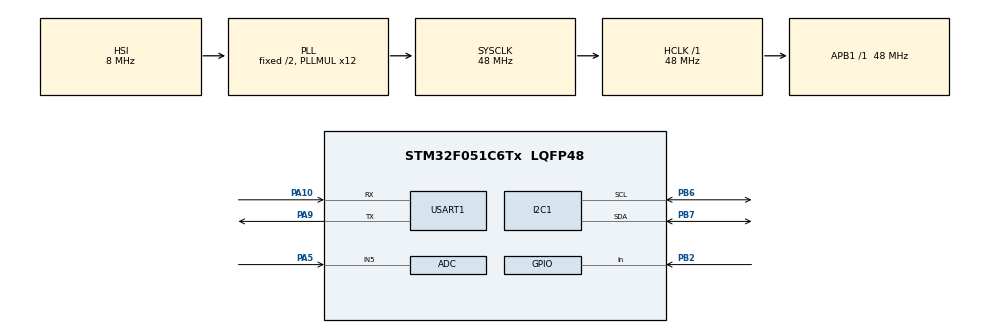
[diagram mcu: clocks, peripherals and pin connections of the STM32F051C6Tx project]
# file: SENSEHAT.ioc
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ADC.ContinuousConvMode=ENABLE
Mcu.Family=STM32F0
Mcu.Name=STM32F051C6Tx
Mcu.Package=LQFP48
NVIC.TIM2_IRQn=true\:0\:0\:false\:false\:true\:true\:true\:true
PA10.Mode=Asynchronous
PA10.Signal=USART1_RX
PA5.Mode=IN5
PA5.Signal=ADC_IN5
PA9.Mode=Asynchronous
PA9.Signal=USART1_TX
PB2.GPIO_PuPd=GPIO_PULLDOWN
PB2.Signal=GPIO_Input
PB6.Mode=I2C
PB6.Signal=I2C1_SCL
PB7.Mode=I2C
PB7.Signal=I2C1_SDA
PC14-OSC32_IN.Mode=LSE-External-Oscillator
PC14-OSC32_IN.Signal=RCC_OSC32_IN
PC15-OSC32_OUT.Mode=LSE-External-Oscillator
PC15-OSC32_OUT.Signal=RCC_OSC32_OUT
PF0-OSC_IN.Mode=HSE-External-Oscillator
PF0-OSC_IN.Signal=RCC_OSC_IN
PF1-OSC_OUT.Mode=HSE-External-Oscillator
PF1-OSC_OUT.Signal=RCC_OSC_OUT
ProjectManager.HeapSize=0x200
ProjectManager.StackSize=0x400
ProjectManager.TargetToolchain=STM32CubeIDE
RCC.AHBFreq_Value=48000000
RCC.APB1Freq_Value=48000000
RCC.APB1TimFreq_Value=48000000
RCC.HCLKFreq_Value=48000000
RCC.PLLMUL=RCC_PLL_MUL12
RCC.SYSCLKFreq_VALUE=48000000
RCC.SYSCLKSource=RCC_SYSCLKSOURCE_PLLCLK
TIM2.AutoReloadPreload=TIM_AUTORELOAD_PRELOAD_ENABLE
TIM2.Period=144000
TIM2.Prescaler=10000
USART1.VirtualMode-Asynchronous=VM_ASYNC
VP_RTC_VS_RTC_Activate.Mode=RTC_Enabled
VP_RTC_VS_RTC_Calendar.Mode=RTC_Calendar
VP_TIM2_VS_ClockSourceINT.Mode=Internal
board=custom

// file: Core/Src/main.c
/* USER CODE BEGIN Header */
/**
  ******************************************************************************
  * @file           : main.c
  * @brief          : Main program body
  ******************************************************************************
  * @attention
  *
  * Copyright (c) 2023 STMicroelectronics.
  * All rights reserved.
  *
  * This software is licensed under terms that can be found in the LICENSE file
  * in the root directory of this software component.
  * If no LICENSE file comes with this software, it is provided AS-IS.
  *
  ******************************************************************************
  * @author Rumbidzai Mashumba, Phomolo Makina, Travimadox Webb
  * @company Imperium LLC
  * @date 13th of May 2023
  */
/* USER CODE END Header */
#include "main.h"

/* USER CODE BEGIN Includes */
#include "rtc.h"
#include "ldr.h"
#include "tmp102.h"
#include "EEPROM.h"
#include "string.h"

#include <math.h>
#include <stdbool.h>
/* USER CODE END Includes */

ADC_HandleTypeDef hadc;

I2C_HandleTypeDef hi2c1;

RTC_HandleTypeDef hrtc;

TIM_HandleTypeDef htim2;

UART_HandleTypeDef huart1;

/* USER CODE BEGIN PV */
// Change these values to set time and date each time the stm32 goes off
uint8_t hours = 14;
uint8_t minutes = 00;
uint8_t seconds = 0;
uint8_t day = 19;
uint8_t month = 5;
uint8_t year = 23;

uint8_t read_hours, read_minutes, read_seconds;
char time_string[9];

uint8_t dayread;
uint8_t monthread;
uint8_t yearread;
char date_string[11];

float light_intensity;

float temperature;

char temp_string[10];
char light_string[10];

HAL_StatusTypeDef status;

// Global variable to track the current page
uint16_t current_page = 0;

// Flag to indicate whether the EEPROM is full
bool eeprom_full = false;

//Flag to indicate whether USB is plugged
bool usb_plugged = false;

/* USER CODE END PV */

void SystemClock_Config(void);
static void MX_GPIO_Init(void);
static void MX_ADC_Init(void);
static void MX_I2C1_Init(void);
static void MX_RTC_Init(void);
static void MX_USART1_UART_Init(void);
static void MX_TIM2_Init(void);
/* USER CODE BEGIN PFP */
void read_and_transmit_all_data(void);
void read_and_store_data(void);
void check_GPIO_state(void);
/* USER CODE END PFP */

int main(void)
{

  /* MCU Configuration--------------------------------------------------------*/

  /* Reset of all peripherals, Initializes the Flash interface and the Systick. */
  HAL_Init();

  /* Configure the system clock */
  SystemClock_Config();

  /* Initialize all configured peripherals */
  MX_GPIO_Init();
  MX_ADC_Init();
  MX_I2C1_Init();
  MX_RTC_Init();
  MX_USART1_UART_Init();
  MX_TIM2_Init();
  /* USER CODE BEGIN 2 */

  //Set calibration constants for the LDR
  LDR_Init();

  //Set Time and Date
    status = RTC_SetTime(&hrtc, hours, minutes, seconds);

    if (status != HAL_OK) {
        // Handle error will be implemented later
    }

    RTC_SetDate(&hrtc, day, month, year);

    //Initiliaze temperature sensor
    if (TMP102_Init(&hi2c1) != HAL_OK) {
          // Handle error (e.g., turn on an LED or print a message)
    	  strcpy((char*)temp_string,"Error Tx\r\n");
      }

  /* USER CODE END 2 */

  /* Infinite loop */
  /* USER CODE BEGIN WHILE */
  while (1)
  {
	  //Back -up for demo in case interrupts dont work
	  //Remember to implement function to update the usb_plugged flag
	  check_GPIO_state();
	  if(usb_plugged){
		  HAL_Delay(30000);
		  read_and_transmit_all_data();
	  }
	  else{
		  read_and_store_data();
	  }

	  HAL_Delay(10000);

    /* USER CODE END WHILE */

  }
}

void SystemClock_Config(void)
{
  RCC_OscInitTypeDef RCC_OscInitStruct = {0};
  RCC_ClkInitTypeDef RCC_ClkInitStruct = {0};
  RCC_PeriphCLKInitTypeDef PeriphClkInit = {0};

  /** Initializes the RCC Oscillators according to the specified parameters
  * in the RCC_OscInitTypeDef structure.
  */
  RCC_OscInitStruct.OscillatorType = RCC_OSCILLATORTYPE_HSI|RCC_OSCILLATORTYPE_HSI14
                              |RCC_OSCILLATORTYPE_LSI;
  RCC_OscInitStruct.HSIState = RCC_HSI_ON;
  RCC_OscInitStruct.HSI14State = RCC_HSI14_ON;
  RCC_OscInitStruct.HSICalibrationValue = RCC_HSICALIBRATION_DEFAULT;
  RCC_OscInitStruct.HSI14CalibrationValue = 16;
  RCC_OscInitStruct.LSIState = RCC_LSI_ON;
  RCC_OscInitStruct.PLL.PLLState = RCC_PLL_ON;
  RCC_OscInitStruct.PLL.PLLSource = RCC_PLLSOURCE_HSI;
  RCC_OscInitStruct.PLL.PLLMUL = RCC_PLL_MUL12;
  RCC_OscInitStruct.PLL.PREDIV = RCC_PREDIV_DIV1;
  if (HAL_RCC_OscConfig(&RCC_OscInitStruct) != HAL_OK)
  {
    Error_Handler();
  }

  /** Initializes the CPU, AHB and APB buses clocks
  */
  RCC_ClkInitStruct.ClockType = RCC_CLOCKTYPE_HCLK|RCC_CLOCKTYPE_SYSCLK
                              |RCC_CLOCKTYPE_PCLK1;
  RCC_ClkInitStruct.SYSCLKSource = RCC_SYSCLKSOURCE_PLLCLK;
  RCC_ClkInitStruct.AHBCLKDivider = RCC_SYSCLK_DIV1;
  RCC_ClkInitStruct.APB1CLKDivider = RCC_HCLK_DIV1;

  if (HAL_RCC_ClockConfig(&RCC_ClkInitStruct, FLASH_LATENCY_1) != HAL_OK)
  {
    Error_Handler();
  }
  PeriphClkInit.PeriphClockSelection = RCC_PERIPHCLK_USART1|RCC_PERIPHCLK_I2C1
                              |RCC_PERIPHCLK_RTC;
  PeriphClkInit.Usart1ClockSelection = RCC_USART1CLKSOURCE_PCLK1;
  PeriphClkInit.I2c1ClockSelection = RCC_I2C1CLKSOURCE_HSI;
  PeriphClkInit.RTCClockSelection = RCC_RTCCLKSOURCE_LSI;
  if (HAL_RCCEx_PeriphCLKConfig(&PeriphClkInit) != HAL_OK)
  {
    Error_Handler();
  }
}

static void MX_ADC_Init(void)
{

  ADC_ChannelConfTypeDef sConfig = {0};

  /** Configure the global features of the ADC (Clock, Resolution, Data Alignment and number of conversion)
  */
  hadc.Instance = ADC1;
  hadc.Init.ClockPrescaler = ADC_CLOCK_ASYNC_DIV1;
  hadc.Init.Resolution = ADC_RESOLUTION_12B;
  hadc.Init.DataAlign = ADC_DATAALIGN_RIGHT;
  hadc.Init.ScanConvMode = ADC_SCAN_DIRECTION_FORWARD;
  hadc.Init.EOCSelection = ADC_EOC_SINGLE_CONV;
  hadc.Init.LowPowerAutoWait = DISABLE;
  hadc.Init.LowPowerAutoPowerOff = DISABLE;
  hadc.Init.ContinuousConvMode = ENABLE;
  hadc.Init.DiscontinuousConvMode = DISABLE;
  hadc.Init.ExternalTrigConv = ADC_SOFTWARE_START;
  hadc.Init.ExternalTrigConvEdge = ADC_EXTERNALTRIGCONVEDGE_NONE;
  hadc.Init.DMAContinuousRequests = DISABLE;
  hadc.Init.Overrun = ADC_OVR_DATA_PRESERVED;
  if (HAL_ADC_Init(&hadc) != HAL_OK)
  {
    Error_Handler();
  }

  /** Configure for the selected ADC regular channel to be converted.
  */
  sConfig.Channel = ADC_CHANNEL_5;
  sConfig.Rank = ADC_RANK_CHANNEL_NUMBER;
  sConfig.SamplingTime = ADC_SAMPLETIME_1CYCLE_5;
  if (HAL_ADC_ConfigChannel(&hadc, &sConfig) != HAL_OK)
  {
    Error_Handler();
  }

}

static void MX_I2C1_Init(void)
{

  hi2c1.Instance = I2C1;
  hi2c1.Init.Timing = 0x2000090E;
  hi2c1.Init.OwnAddress1 = 0;
  hi2c1.Init.AddressingMode = I2C_ADDRESSINGMODE_7BIT;
  hi2c1.Init.DualAddressMode = I2C_DUALADDRESS_DISABLE;
  hi2c1.Init.OwnAddress2 = 0;
  hi2c1.Init.OwnAddress2Masks = I2C_OA2_NOMASK;
  hi2c1.Init.GeneralCallMode = I2C_GENERALCALL_DISABLE;
  hi2c1.Init.NoStretchMode = I2C_NOSTRETCH_DISABLE;
  if (HAL_I2C_Init(&hi2c1) != HAL_OK)
  {
    Error_Handler();
  }

  /** Configure Analogue filter
  */
  if (HAL_I2CEx_ConfigAnalogFilter(&hi2c1, I2C_ANALOGFILTER_ENABLE) != HAL_OK)
  {
    Error_Handler();
  }

  /** Configure Digital filter
  */
  if (HAL_I2CEx_ConfigDigitalFilter(&hi2c1, 0) != HAL_OK)
  {
    Error_Handler();
  }

}

static void MX_RTC_Init(void)
{

  RTC_TimeTypeDef sTime = {0};
  RTC_DateTypeDef sDate = {0};

  /** Initialize RTC Only
  */
  hrtc.Instance = RTC;
  hrtc.Init.HourFormat = RTC_HOURFORMAT_24;
  hrtc.Init.AsynchPrediv = 127;
  hrtc.Init.SynchPrediv = 255;
  hrtc.Init.OutPut = RTC_OUTPUT_DISABLE;
  hrtc.Init.OutPutPolarity = RTC_OUTPUT_POLARITY_HIGH;
  hrtc.Init.OutPutType = RTC_OUTPUT_TYPE_OPENDRAIN;
  if (HAL_RTC_Init(&hrtc) != HAL_OK)
  {
    Error_Handler();
  }

  /** Initialize RTC and set the Time and Date
  */
  sTime.Hours = 0x0;
  sTime.Minutes = 0x0;
  sTime.Seconds = 0x0;
  sTime.DayLightSaving = RTC_DAYLIGHTSAVING_NONE;
  sTime.StoreOperation = RTC_STOREOPERATION_RESET;
  if (HAL_RTC_SetTime(&hrtc, &sTime, RTC_FORMAT_BCD) != HAL_OK)
  {
    Error_Handler();
  }
  sDate.WeekDay = RTC_WEEKDAY_MONDAY;
  sDate.Month = RTC_MONTH_JANUARY;
  sDate.Date = 0x1;
  sDate.Year = 0x0;

  if (HAL_RTC_SetDate(&hrtc, &sDate, RTC_FORMAT_BCD) != HAL_OK)
  {
    Error_Handler();
  }

}

static void MX_TIM2_Init(void)
{

  TIM_ClockConfigTypeDef sClockSourceConfig = {0};
  TIM_MasterConfigTypeDef sMasterConfig = {0};

  htim2.Instance = TIM2;
  htim2.Init.Prescaler = 10000;
  htim2.Init.CounterMode = TIM_COUNTERMODE_UP;
  htim2.Init.Period = 144000;
  htim2.Init.ClockDivision = TIM_CLOCKDIVISION_DIV1;
  htim2.Init.AutoReloadPreload = TIM_AUTORELOAD_PRELOAD_ENABLE;
  if (HAL_TIM_Base_Init(&htim2) != HAL_OK)
  {
    Error_Handler();
  }
  sClockSourceConfig.ClockSource = TIM_CLOCKSOURCE_INTERNAL;
  if (HAL_TIM_ConfigClockSource(&htim2, &sClockSourceConfig) != HAL_OK)
  {
    Error_Handler();
  }
  sMasterConfig.MasterOutputTrigger = TIM_TRGO_RESET;
  sMasterConfig.MasterSlaveMode = TIM_MASTERSLAVEMODE_DISABLE;
  if (HAL_TIMEx_MasterConfigSynchronization(&htim2, &sMasterConfig) != HAL_OK)
  {
    Error_Handler();
  }

}

static void MX_USART1_UART_Init(void)
{

  huart1.Instance = USART1;
  huart1.Init.BaudRate = 38400;
  huart1.Init.WordLength = UART_WORDLENGTH_8B;
  huart1.Init.StopBits = UART_STOPBITS_1;
  huart1.Init.Parity = UART_PARITY_NONE;
  huart1.Init.Mode = UART_MODE_TX_RX;
  huart1.Init.HwFlowCtl = UART_HWCONTROL_NONE;
  huart1.Init.OverSampling = UART_OVERSAMPLING_16;
  huart1.Init.OneBitSampling = UART_ONE_BIT_SAMPLE_DISABLE;
  huart1.AdvancedInit.AdvFeatureInit = UART_ADVFEATURE_NO_INIT;
  if (HAL_UART_Init(&huart1) != HAL_OK)
  {
    Error_Handler();
  }

}

static void MX_GPIO_Init(void)
{
  GPIO_InitTypeDef GPIO_InitStruct = {0};

  /* GPIO Ports Clock Enable */
  __HAL_RCC_GPIOC_CLK_ENABLE();
  __HAL_RCC_GPIOF_CLK_ENABLE();
  __HAL_RCC_GPIOA_CLK_ENABLE();
  __HAL_RCC_GPIOB_CLK_ENABLE();

  /*Configure GPIO pin : PB2 */
  GPIO_InitStruct.Pin = GPIO_PIN_2;
  GPIO_InitStruct.Mode = GPIO_MODE_INPUT;
  GPIO_InitStruct.Pull = GPIO_PULLDOWN;
  HAL_GPIO_Init(GPIOB, &GPIO_InitStruct);

}

/* USER CODE BEGIN 4 */
/**

@brief Read and store data

This function reads the light intensity, temperature, date, and time, and stores the data in the EEPROM memory.

The data is formatted using CSV (Comma-Separated Values) format and written to the EEPROM memory.

The function checks if the EEPROM is full before performing any write operations.

@note If the EEPROM is full, the function does not perform any write operations.
*/
/*void read_and_store_data(void)
{
    // If the EEPROM is full, don't perform any write operations
    if(eeprom_full) {
        return;
    }
	  //Read Light Intensity
	  light_intensity = LDR_ReadAnalogLightIntensity(&hadc);

	  int light_whole = (int)light_intensity;
	  int light_frac = (int)(100 * (light_intensity - light_whole));
	  sprintf(light_string, "%d.%02d", light_whole, light_frac);

	  //Read Temperature
	  temperature = TMP102_ReadTemperature(&hi2c1);
	  int temp_whole = (int)temperature;
	  int temp_frac = (int)(100 * (temperature - temp_whole));
	  sprintf(temp_string, "%d.%02d", temp_whole, temp_frac);

	   //Get the date
	   RTC_GetDate(&hrtc, &dayread, &monthread, &yearread);
	   // Convert the integers to a string
	   sprintf(date_string, "%02d-%02d-%02d", dayread, monthread, yearread);

	   //Get the time
	   status = RTC_GetTime(&hrtc, &read_hours, &read_minutes, &read_seconds);
	   if (status != HAL_OK) {
	       // Handle error
	   }

	   // Convert the integers to a string
	   sprintf(time_string, "%02d:%02d:%02d", read_hours, read_minutes, read_seconds);

	    // Calculate the size of the message
	    uint16_t message_size = strlen(light_string) + strlen(temp_string) + strlen(date_string) + strlen(time_string) + 3; // 3 for the ',' separators

	    // Create a complete message string using CSV formatting
	    char message[message_size + 1]; // +1 for the null terminator
	    sprintf(message, "%s,%s,%s,%s\r\n", date_string, time_string, temp_string, light_string);

	    // Check if the message can fit into the current page. If not, go to the next page.
	    if(message_size > PAGE_SIZE) {
	        current_page++;
	    }

	    // Check if there's enough space left in the EEPROM
	    if(current_page < PAGE_NUM) {
	        // Write the message to the EEPROM
	        EEPROM_Write(current_page, 0, (uint8_t *)message, message_size);

	        // If the message size is less than the page size, the next write operation will start from where it left.
	        // Otherwise, the next write operation will start from the next page.
	        if(message_size < PAGE_SIZE) {
	            current_page += message_size / PAGE_SIZE;
	        } else {
	            current_page++;
	        }

	    } else {
	        // EEPROM is full, set the flag to prevent further writing
	        eeprom_full = true;
	    }

}*/

void read_and_store_data(void)
{
    // If the EEPROM is full, don't perform any write operations
    if(eeprom_full) {
        return;
    }
	  //Read Light Intensity
	  light_intensity = LDR_ReadAnalogLightIntensity(&hadc);

	  int light_whole = (int)light_intensity;
	  int light_frac = (int)(100 * (light_intensity - light_whole));
	  sprintf(light_string, "%d.%02d", light_whole, light_frac);

	  //Read Temperature
	  temperature = TMP102_ReadTemperature(&hi2c1);
	  int temp_whole = (int)temperature;
	  int temp_frac = (int)(100 * (temperature - temp_whole));
	  sprintf(temp_string, "%d.%02d", temp_whole, temp_frac);

	   //Get the date
	   RTC_GetDate(&hrtc, &dayread, &monthread, &yearread);
	   // Convert the integers to a string
	   sprintf(date_string, "%02d-%02d-%02d", dayread, monthread, yearread);

	   //Get the time
	   status = RTC_GetTime(&hrtc, &read_hours, &read_minutes, &read_seconds);
	   if (status != HAL_OK) {
	       // Handle error
	   }

	   // Convert the integers to a string
	   sprintf(time_string, "%02d:%02d:%02d", read_hours, read_minutes, read_seconds);

	    // Calculate the size of the message
	    //uint16_t message_size = strlen(light_string) + strlen(temp_string) + strlen(date_string) + strlen(time_string) + 20; // 20 for the 'Date: ','Time: ','Temp: ','Light: ' and '\r\n'

	    // Create a complete message string
	    //char message[message_size + 1]; // +1 for the null terminator

	    char message[64];
	    sprintf(message, "Date: %s Time: %s Temp: %s Light: %s\r\n", date_string, time_string, temp_string, light_string);

	    // Check if the message can fit into the current page. If not, go to the next page.
	    if(current_page < PAGE_NUM) {
	    	// Write the message to the EEPROM
	    	EEPROM_Write(current_page, 0, (uint8_t *)message, strlen(message));
	    	current_page++;

	    }

	    else{
	    	eeprom_full = true;
	    }

	    // Check if there's enough space left in the EEPROM
	    /*
	     * if(current_page < PAGE_NUM) {
	        // Write the message to the EEPROM
	        EEPROM_Write(current_page, 0, (uint8_t *)message, message_size);

	        // If the message size is less than the page size, the next write operation will start from where it left.
	        // Otherwise, the next write operation will start from the next page.
	        if(message_size < PAGE_SIZE) {
	            current_page += message_size / PAGE_SIZE;
	        } else {
	            current_page++;
	        }

	    } else {
	        // EEPROM is full, set the flag to prevent further writing
	        eeprom_full = true;
	    }
	     */
}

/**

@brief Read and transmit all data
This function reads all the data stored in the EEPROM memory and transmits it over UART.
It loops through all the pages of the EEPROM, reads the data from each page, and transmits it using UART communication.
There is a delay between each UART transmission to ensure proper data transmission.
@note This function assumes that the EEPROM has been filled with data and the eeprom_full flag is not checked.
      If the EEPROM is not filled with data, this function may transmit garbage values.
*/

/*void read_and_transmit_all_data(void)
{
    // If the EEPROM is not full, don't perform any read operations
    /*if(!eeprom_full) {
        return;
    }

    // Buffer to hold the data read from the EEPROM
    uint8_t data[PAGE_SIZE];

    // Loop through all pages
    for(uint16_t page = 0; page < PAGE_NUM; page++) {
        // Read data from the current page of the EEPROM
        EEPROM_Read(page, 0, data, PAGE_SIZE);

        // Transmit the data over UART
        HAL_UART_Transmit(&huart1, data, strlen((char *)data), 1000);

        // Delay between each UART transmission

        HAL_Delay(10);
    }

    //Erase everything after transmission
    for (int i=0; i<512; i++)
    {
  	  EEPROM_PageErase(i);
    }

} */

void read_and_transmit_all_data(void)
{
    // If the EEPROM is not full, don't perform any read operations
    /*if(!eeprom_full) {
        return;
    }*/

    // Buffer to hold the data read from the EEPROM
    uint8_t data[PAGE_SIZE + 1];  // +1 for the null terminator

    // Loop through all pages
    for(uint16_t page = 0; page < PAGE_NUM; page++) {
        // Read data from the current page of the EEPROM
        EEPROM_Read(page, 0, data, PAGE_SIZE);

        // Ensure that the data is null-terminated
        data[PAGE_SIZE] = '\0';

        // Transmit the data over UART
        HAL_UART_Transmit(&huart1, data, PAGE_SIZE, 1000);

        // Delay between each UART transmission
        HAL_Delay(10);
    }

    //Erase everything after transmission
    for (int i=0; i<512; i++)
    {
  	  EEPROM_PageErase(i);
    }
    eeprom_full = false;
}

/**

@brief GPIO EXTI callback function
This function is called when an EXTI interrupt event is triggered on a GPIO pin.
It specifically handles the interrupt triggered by the PB10 pin, indicating that the USB has been plugged in.
When this interrupt occurs, the function starts transmitting all the stored data over UART.
@param GPIO_Pin The GPIO pin that triggered the interrupt
*/

void HAL_GPIO_EXTI_Callback(uint16_t GPIO_Pin){
	// If The INT Source Is EXTI 10 (PB10 Pin) indicating USB has been plugged in

	if(GPIO_Pin == GPIO_PIN_2){
		//Start transmitting data
		//read_and_transmit_all_data();
		usb_plugged = true;
		HAL_GPIO_TogglePin(GPIOB, GPIO_PIN_11);

	}
}

void check_GPIO_state(void)
{
    GPIO_PinState PinState;

    // Check the state of the GPIO pin
    PinState = HAL_GPIO_ReadPin(GPIOB, GPIO_PIN_2);

    if (PinState == GPIO_PIN_SET)
    {
        // If the pin is set, then do something here
    	usb_plugged = true;
    }
    else if (PinState == GPIO_PIN_RESET)
    {
        // If the pin is reset, then do something else here
    	usb_plugged = false;
    }
}

/**
 * @brief TIM period elapsed callback function
 *
 * This function is called when the period of a TIM (Timer) peripheral has elapsed.
 * It specifically handles the callback for the timer used to track the elapsed time of 60 seconds.
 * When this callback is triggered, the function reads data from the sensors and stores it.
 */
/*void HAL_TIM_PeriodElapsedCallback(TIM_HandleTypeDef* htim)
{
	//if 60s have elapsed we read data from the sensors

	read_and_store_data();
}*/

/* USER CODE END 4 */

void Error_Handler(void)
{
  __disable_irq();
  while (1)
  {
  }
}
